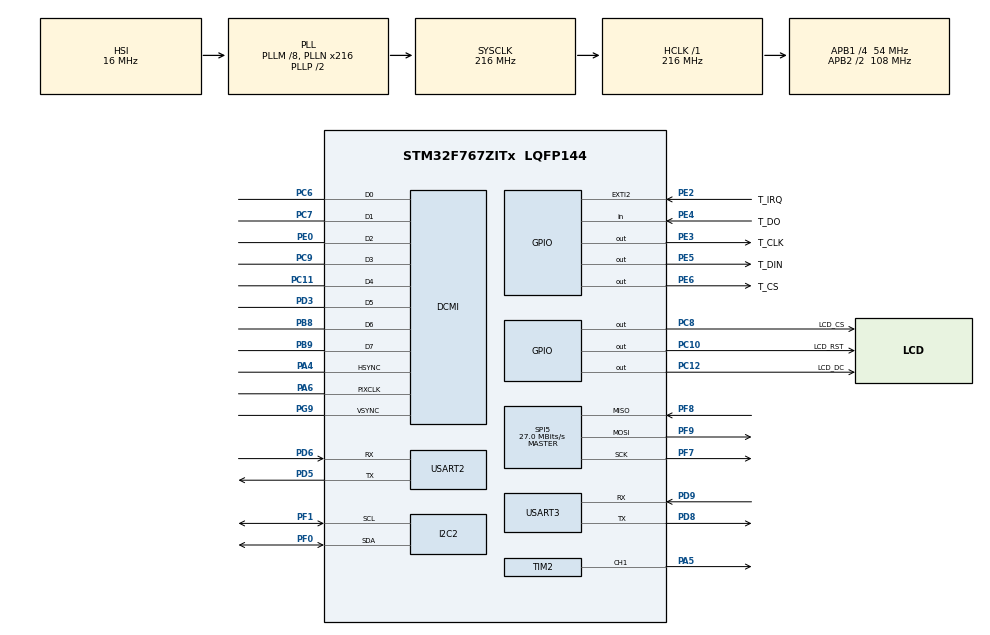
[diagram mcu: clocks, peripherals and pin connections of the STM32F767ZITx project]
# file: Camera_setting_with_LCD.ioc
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CORTEX_M7.default_mode_Activation=1
DCMI.PCKPolarity=DCMI_PCKPOLARITY_RISING
DCMI.VSPolarity=DCMI_VSPOLARITY_HIGH
Dma.DCMI.0.Direction=DMA_PERIPH_TO_MEMORY
Dma.DCMI.0.FIFOMode=DMA_FIFOMODE_ENABLE
Dma.DCMI.0.FIFOThreshold=DMA_FIFO_THRESHOLD_FULL
Dma.DCMI.0.Instance=DMA2_Stream1
Dma.DCMI.0.MemBurst=DMA_MBURST_SINGLE
Dma.DCMI.0.MemDataAlignment=DMA_MDATAALIGN_WORD
Dma.DCMI.0.MemInc=DMA_MINC_ENABLE
Dma.DCMI.0.Mode=DMA_NORMAL
Dma.DCMI.0.PeriphBurst=DMA_PBURST_SINGLE
Dma.DCMI.0.PeriphDataAlignment=DMA_PDATAALIGN_WORD
Dma.DCMI.0.PeriphInc=DMA_PINC_DISABLE
Dma.DCMI.0.Priority=DMA_PRIORITY_VERY_HIGH
Dma.Request0=DCMI
I2C2.Timing=0x20404768
Mcu.Family=STM32F7
Mcu.Name=STM32F767ZITx
Mcu.Package=LQFP144
NVIC.DCMI_IRQn=true\:0\:0\:false\:false\:true\:true\:true\:true
NVIC.DMA2_Stream1_IRQn=true\:0\:0\:false\:false\:true\:false\:true\:true
NVIC.EXTI2_IRQn=true\:2\:0\:true\:false\:true\:true\:true\:true
NVIC.PriorityGroup=NVIC_PRIORITYGROUP_4
NVIC.USART2_IRQn=true\:0\:0\:false\:false\:true\:true\:true\:true
PA13.Mode=Serial_Wire
PA13.Signal=SYS_JTMS-SWDIO
PA14.Mode=Serial_Wire
PA14.Signal=SYS_JTCK-SWCLK
PA4.Mode=Slave_8_bits_External_Synchro
PA4.Signal=DCMI_HSYNC
PA5.Signal=S_TIM2_CH1_ETR
PA6.Mode=Slave_8_bits_External_Synchro
PA6.Signal=DCMI_PIXCLK
PB8.Mode=Slave_8_bits_External_Synchro
PB8.Signal=DCMI_D6
PB9.Mode=Slave_8_bits_External_Synchro
PB9.Signal=DCMI_D7
PC10.GPIO_Label=LCD_RST
PC10.GPIO_Speed=GPIO_SPEED_FREQ_VERY_HIGH
PC10.PinState=GPIO_PIN_SET
PC10.Signal=GPIO_Output
PC11.Mode=Slave_8_bits_External_Synchro
PC11.Signal=DCMI_D4
PC12.GPIO_Label=LCD_DC
PC12.GPIO_Speed=GPIO_SPEED_FREQ_VERY_HIGH
PC12.Signal=GPIO_Output
PC6.Mode=Slave_8_bits_External_Synchro
PC6.Signal=DCMI_D0
PC7.Mode=Slave_8_bits_External_Synchro
PC7.Signal=DCMI_D1
PC8.GPIO_Label=LCD_CS
PC8.GPIO_Speed=GPIO_SPEED_FREQ_VERY_HIGH
PC8.PinState=GPIO_PIN_SET
PC8.Signal=GPIO_Output
PC9.Mode=Slave_8_bits_External_Synchro
PC9.Signal=DCMI_D3
PD3.Mode=Slave_8_bits_External_Synchro
PD3.Signal=DCMI_D5
PD5.Mode=Asynchronous
PD5.Signal=USART2_TX
PD6.Mode=Asynchronous
PD6.Signal=USART2_RX
PD8.Mode=Asynchronous
PD8.Signal=USART3_TX
PD9.Mode=Asynchronous
PD9.Signal=USART3_RX
PE0.Mode=Slave_8_bits_External_Synchro
PE0.Signal=DCMI_D2
PE2.GPIO_Label=T_IRQ
PE2.GPIO_ModeDefaultEXTI=GPIO_MODE_IT_FALLING
PE2.GPIO_PuPd=GPIO_PULLUP
PE2.Signal=GPXTI2
PE3.GPIO_Label=T_CLK
PE3.GPIO_Speed=GPIO_SPEED_FREQ_VERY_HIGH
PE3.Signal=GPIO_Output
PE4.GPIO_Label=T_DO
PE4.Signal=GPIO_Input
PE5.GPIO_Label=T_DIN
PE5.GPIO_Speed=GPIO_SPEED_FREQ_VERY_HIGH
PE5.Signal=GPIO_Output
PE6.GPIO_Label=T_CS
PE6.PinState=GPIO_PIN_SET
PE6.Signal=GPIO_Output
PF0.Mode=I2C
PF0.Signal=I2C2_SDA
PF1.Mode=I2C
PF1.Signal=I2C2_SCL
PF7.Mode=Full_Duplex_Master
PF7.Signal=SPI5_SCK
PF8.Mode=Full_Duplex_Master
PF8.Signal=SPI5_MISO
PF9.Mode=Full_Duplex_Master
PF9.Signal=SPI5_MOSI
PG9.Mode=Slave_8_bits_External_Synchro
PG9.Signal=DCMI_VSYNC
ProjectManager.HeapSize=0x200
ProjectManager.StackSize=0x400
ProjectManager.TargetToolchain=STM32CubeIDE
RCC.AHBFreq_Value=216000000
RCC.APB1CLKDivider=RCC_HCLK_DIV4
RCC.APB1Freq_Value=54000000
RCC.APB1TimFreq_Value=108000000
RCC.APB2CLKDivider=RCC_HCLK_DIV2
RCC.APB2Freq_Value=108000000
RCC.APB2TimFreq_Value=216000000
RCC.CortexFreq_Value=216000000
RCC.HCLKFreq_Value=216000000
RCC.HSE_VALUE=25000000
RCC.HSI_VALUE=16000000
RCC.LSE_VALUE=32768
RCC.PLLM=8
RCC.PLLN=216
RCC.SYSCLKFreq_VALUE=216000000
RCC.SYSCLKSource=RCC_SYSCLKSOURCE_PLLCLK
RCC.USBFreq_Value=216000000
RCC.VCOOutputFreq_Value=432000000
SH.S_TIM2_CH1_ETR.0=TIM2_CH1,PWM Generation1 CH1
SPI5.BaudRatePrescaler=SPI_BAUDRATEPRESCALER_4
SPI5.CalculateBaudRate=27.0 MBits/s
SPI5.DataSize=SPI_DATASIZE_8BIT
SPI5.Direction=SPI_DIRECTION_2LINES
SPI5.Mode=SPI_MODE_MASTER
SPI5.VirtualType=VM_MASTER
TIM2.Channel-PWM\ Generation1\ CH1=TIM_CHANNEL_1
TIM2.Period=7
TIM2.Pulse-PWM\ Generation1\ CH1=4
USART2.VirtualMode-Asynchronous=VM_ASYNC
USART3.VirtualMode-Asynchronous=VM_ASYNC
VP_TIM2_VS_ClockSourceINT.Mode=Internal
board=custom

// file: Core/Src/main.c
/* USER CODE BEGIN Header */
/**
  ******************************************************************************
  * @file           : main.c
  * @brief          : Main program body
  ******************************************************************************
  * @attention
  *
  * Copyright (c) 2026 STMicroelectronics.
  * All rights reserved.
  *
  * This software is licensed under terms that can be found in the LICENSE file
  * in the root directory of this software component.
  * If no LICENSE file comes with this software, it is provided AS-IS.
  *
  ******************************************************************************
  */
/* USER CODE END Header */
#include "main.h"
#include "dcmi.h"
#include "dma.h"
#include "i2c.h"
#include "spi.h"
#include "tim.h"
#include "usart.h"
#include "gpio.h"

/* USER CODE BEGIN Includes */
#include "ov7670.h"
#include "apriltag_lite.h"
#include <stdio.h>
#include <stdlib.h>
#include <string.h>
#include "tim.h"
#include "delivery.h"
#include "cat_ui.h"
/* USER CODE END Includes */

/* USER CODE BEGIN PD */
/* ---- application ---- */
#define APP_DELIVERY       1        /* 1 = table delivery on the LCD (cat face, touch, servo, link_send)
                                       0 = tag -> command + video for tools/ov7670_viewer.py */
#define DELIVERY_VIDEO     1        /* 1 = delivery mode also sends video to the viewer (needs 2 Mbaud) */
/* ---- serial port (ST-LINK USB) ---- */
#if APP_DELIVERY && !DELIVERY_VIDEO
#define UART_BAUD          115200   /* text only (no video) */
#else
#define UART_BAUD          2000000  /* Tera Term and tools/ov7670_viewer.py must use this speed.
                                       2 Mbaud = 54 MHz / 27 exactly. Garbage? use 921600 */
#endif
/* ---- AprilTag (tag36h11) detection on the STM32 ---- */
#define DET_SCALE          1        /* 1 = detect on 320x240 (longer range), 2 = on 160x120 (faster) */
#define DET_W              (OV7670_WIDTH / DET_SCALE)
#define DET_H              (OV7670_HEIGHT / DET_SCALE)
#define CONFIRM_FRAMES     2        /* a tag must be seen this many frames in a row to become the command */
#define TAG_LOST_MS        1000     /* no command tag for this long -> STOP */
/* ---- result lines in Tera Term ---- */
#define OUTPUT_DELAY_MS    500      /* delay between result lines; change at run time with + and - */
#define OUTPUT_DELAY_STEP  100
#define OUTPUT_DELAY_MIN   100
#define OUTPUT_DELAY_MAX   10000
/* ---- live video for tools/ov7670_viewer.py (sent only after it asks with 'v') ---- */
#define VIDEO_SCALE        2        /* 1 = 320x240, 2 = 160x120; must be a multiple of DET_SCALE */
#define VIDEO_W            (OV7670_WIDTH / VIDEO_SCALE)
#define VIDEO_H            (OV7670_HEIGHT / VIDEO_SCALE)
/* ---- misc ---- */
#define BOOT_DIAG          0        /* 1 = print the SCCB / I2C scan / sync-signal tests at start-up */
#define GRAY_Y_OFFSET      0        /* which byte of each YUYV pixel pair is Y */
/* ---- camera signal checks ---- */
#define OV7670_TEST_PATTERN 0       /* 1 = colour bars instead of the picture (key p toggles at run time) */
#define OV7670_PCLK_DIV    1        /* 1 = normal, 2 / 4 = slower PCLK for long jumper wires (fewer fps) */
#define CAMERA_ROTATION    180      /* how far to turn the picture clockwise to make it upright: 0 / 90 / 180 / 270.
                                       0 = camera mounted level (landscape). If it is mounted on its side,
                                       the left/right angle is taken from the matching image axis and
                                       the viewer turns the picture (detection works in any orientation) */
#define CAM_STATS          0        /* 1 = print a CAM: line (frame size / errors) with every result line */
#define DROP_BAD_FRAMES    1        /* 1 = no tag detection on frames with wrong size or DCMI errors */
#define SHOW_BAD_FRAMES    0        /* 1 = the viewer also gets the bad frames (stripes / shifted lines) */
#define FRAME_MARGIN       (4 * OV7670_WIDTH * 2)   /* DMA room for 4 extra lines, to measure long frames */
#define CAP_BYTES          (OV7670_FRAME_BYTES + FRAME_MARGIN)
#define ROW_TOLERANCE      12       /* test pattern: mean |Y difference| for a row to count as wrong */

#if (VIDEO_SCALE % DET_SCALE) != 0
#error "VIDEO_SCALE must be a multiple of DET_SCALE"
#endif
/* USER CODE END PD */

/* USER CODE BEGIN PV */
__attribute__((aligned(32))) static uint8_t frame_buf[CAP_BYTES];   /* YUYV from the DCMI */
static uint8_t           cap_running = 0;  /* a snapshot has been started and not yet collected */
static volatile uint16_t cap_lines = 0;    /* lines (HREF pulses) received in the current snapshot */
static volatile uint32_t cap_err = 0;      /* HAL_DCMI_ERROR_* bits seen during the current snapshot */
static uint8_t           test_pattern = OV7670_TEST_PATTERN;
static uint8_t gray[DET_W * DET_H];            /* Y plane = input of the tag detector */
static uint8_t video_buf[VIDEO_W * VIDEO_H];   /* frame sent to the PC viewer */
static at_config_t    at_cfg;
static at_detection_t dets[AT_MAX_DETECT];

/* Tag ID -> robot command (other IDs are reported but give no command) */
static const char *const tag_cmd[] = {
  "STOP",         /* ID 0 */
  "FORWARD",      /* ID 1 */
  "TURN_LEFT",    /* ID 2 */
  "TURN_RIGHT",   /* ID 3 */
  "BACKWARD",     /* ID 4 */
};
#define NUM_TAG_CMDS ((int)(sizeof tag_cmd / sizeof tag_cmd[0]))

static int      active_id = -1;       /* tag ID currently driving the robot, -1 = none */
__attribute__((unused)) static int cand_id = -1;       /* tag waiting for CONFIRM_FRAMES */
__attribute__((unused)) static int cand_count = 0;
static uint32_t active_seen = 0;      /* tick when the active tag was last seen */
static uint8_t  video_mode = 0;       /* 1 = viewer connected: also send frames + @ lines */
static uint32_t output_delay = OUTPUT_DELAY_MS;

/* statistics for the result lines */
static uint32_t stat_frames = 0, stat_det_us = 0, stat_t0 = 0;
static int            last_n = 0;     /* tags found in the latest frame */
static at_detection_t last_best;      /* biggest of them */

/* frame checks since the last result line */
static struct {
  uint32_t frames, good, short_, long_, ovr, other_err, timeout;
  uint32_t lines_min, lines_max, bytes_min, bytes_max;
  uint32_t row_bad_frames, rows_bad_max, order_ok, order_bad;
} cam;
/* USER CODE END PV */

void SystemClock_Config(void);
static void MPU_Config(void);

/* USER CODE BEGIN 0 */
static void uart_print(const char *s)
{
  HAL_UART_Transmit(&huart3, (uint8_t *)s, strlen(s), 100);
}

/* Non-blocking read of one byte typed in Tera Term / sent by the viewer, -1 if none */
static int uart_getc(void)
{
  USART_TypeDef *u = huart3.Instance;
  if (u->ISR & (USART_ISR_ORE | USART_ISR_FE | USART_ISR_NE))
    u->ICR = USART_ICR_ORECF | USART_ICR_FECF | USART_ICR_NCF;
  if (u->ISR & USART_ISR_RXNE) return (int)(u->RDR & 0xFF);
  return -1;
}

/* ---- SCCB bit-bang: bus recovery at start-up (+ register test with BOOT_DIAG) ---- */
#define BB_SCL_PIN  GPIO_PIN_1   /* PF1 */
#define BB_SDA_PIN  GPIO_PIN_0   /* PF0 */
#define SCL_H()  HAL_GPIO_WritePin(GPIOF, BB_SCL_PIN, GPIO_PIN_SET)
#define SCL_L()  HAL_GPIO_WritePin(GPIOF, BB_SCL_PIN, GPIO_PIN_RESET)
#define SDA_H()  HAL_GPIO_WritePin(GPIOF, BB_SDA_PIN, GPIO_PIN_SET)
#define SDA_L()  HAL_GPIO_WritePin(GPIOF, BB_SDA_PIN, GPIO_PIN_RESET)
#define SDA_IN() (HAL_GPIO_ReadPin(GPIOF, BB_SDA_PIN) == GPIO_PIN_SET)
#define SCL_IN() (HAL_GPIO_ReadPin(GPIOF, BB_SCL_PIN) == GPIO_PIN_SET)

static void bb_delay(void)
{
  for (volatile uint32_t i = 0; i < 1000; i++) {}   /* ~5 us at 216 MHz */
}

static void bb_init(void)
{
  GPIO_InitTypeDef g = {0};
  HAL_I2C_DeInit(&hi2c2);
  __HAL_RCC_GPIOF_CLK_ENABLE();
  g.Pin = BB_SCL_PIN | BB_SDA_PIN;
  g.Mode = GPIO_MODE_OUTPUT_OD;
  g.Pull = GPIO_PULLUP;
  g.Speed = GPIO_SPEED_FREQ_LOW;
  SCL_H(); SDA_H();
  HAL_GPIO_Init(GPIOF, &g);
  bb_delay();
}

/* Bus recovery: if the camera still holds SDA low (MCU was reset in the
   middle of a transfer), clock SCL until it lets go, then send a STOP */
static void bb_recover(void)
{
  for (int i = 0; i < 9 && !SDA_IN(); i++) {
    SCL_L(); bb_delay(); SCL_H(); bb_delay();
  }
  SDA_L(); bb_delay(); SCL_H(); bb_delay(); SDA_H(); bb_delay();
}

#if BOOT_DIAG
static void bb_start(void) { SDA_H(); SCL_H(); bb_delay(); SDA_L(); bb_delay(); SCL_L(); bb_delay(); }
static void bb_stop(void)  { SDA_L(); bb_delay(); SCL_H(); bb_delay(); SDA_H(); bb_delay(); }

static int bb_write(uint8_t b)
{
  for (int i = 7; i >= 0; i--) {
    if (b & (1 << i)) SDA_H(); else SDA_L();
    bb_delay(); SCL_H(); bb_delay(); SCL_L(); bb_delay();
  }
  SDA_H(); bb_delay();
  SCL_H(); bb_delay();
  int ack = !SDA_IN();
  SCL_L(); bb_delay();
  return ack;
}

static uint8_t bb_read(void)
{
  uint8_t b = 0;
  SDA_H();
  for (int i = 0; i < 8; i++) {
    bb_delay(); SCL_H(); bb_delay();
    b = (b << 1) | (SDA_IN() ? 1 : 0);
    SCL_L();
  }
  SDA_H(); bb_delay(); SCL_H(); bb_delay(); SCL_L(); bb_delay();
  return b;
}

static void bb_read_reg(uint8_t reg, char *msg, size_t n)
{
  bb_start();
  int a1 = bb_write(0x42);
  int a2 = bb_write(reg);
  bb_stop();
  bb_start();
  int a3 = bb_write(0x43);
  uint8_t v = bb_read();
  bb_stop();
  snprintf(msg, n, "  reg 0x%02X: ACK addrW=%d reg=%d addrR=%d  value=0x%02X\r\n",
           reg, a1, a2, a3, v);
}

/* Count level changes on an input pin for 'ms' milliseconds (works in AF mode too) */
static uint32_t count_edges(GPIO_TypeDef *port, uint16_t pin, uint32_t ms)
{
  uint32_t n = 0, t0 = HAL_GetTick();
  uint32_t last = port->IDR & pin;
  while (HAL_GetTick() - t0 < ms) {
    uint32_t now = port->IDR & pin;
    if (now != last) { n++; last = now; }
  }
  return n;
}
#endif /* BOOT_DIAG */

/* ---- camera frames ----
   A snapshot is started into a buffer a few lines bigger than a frame, so
   the DMA never completes on a normal frame. The end of the frame is seen
   in the main loop when the DCMI clears CAPTURE; the DMA counter then tells
   how many bytes arrived, and the line interrupt how many lines. */
void HAL_DCMI_LineEventCallback(DCMI_HandleTypeDef *h)
{
  if (h->Instance->CR & DCMI_CR_CAPTURE) cap_lines++;
}

/* VSYNC starts the blanking before a frame: lines counted so far belong to
   the frame that was running when the snapshot was armed. At the end of the
   captured frame CAPTURE is already clear, so its count is kept. */
void HAL_DCMI_VsyncEventCallback(DCMI_HandleTypeDef *h)
{
  if (h->Instance->CR & DCMI_CR_CAPTURE) cap_lines = 0;
}

void HAL_DCMI_ErrorCallback(DCMI_HandleTypeDef *h)
{
  cap_err |= h->ErrorCode;
  h->ErrorCode = HAL_DCMI_ERROR_NONE;
}

static void start_capture(void)
{
  cap_lines = 0;
  cap_err = 0;
  HAL_DCMI_Start_DMA(&hdcmi, DCMI_MODE_SNAPSHOT, (uint32_t)frame_buf, CAP_BYTES / 4);
  /* the HAL turns these off after a frame event in snapshot mode */
  __HAL_DCMI_ENABLE_IT(&hdcmi, DCMI_IT_LINE | DCMI_IT_VSYNC | DCMI_IT_OVR | DCMI_IT_ERR);
  cap_running = 1;
}

/* Bytes the DMA took from the DCMI in this snapshot (call once CAPTURE is clear) */
static uint32_t captured_bytes(void)
{
  uint32_t t0 = DWT->CYCCNT;
  /* let the DMA empty the DCMI FIFO, at most ~100 us */
  while ((hdcmi.Instance->SR & DCMI_SR_FNE) && DWT->CYCCNT - t0 < SystemCoreClock / 10000u) {}
  return (CAP_BYTES / 4 - __HAL_DMA_GET_COUNTER(hdcmi.DMA_Handle)) * 4;
}

/* Test pattern: number of rows whose Y values differ from the middle row
   (the colour bars are vertical, so every row should be the same) */
static uint32_t count_bad_rows(void)
{
  const uint8_t *ref = frame_buf + (OV7670_HEIGHT / 2) * OV7670_WIDTH * 2 + GRAY_Y_OFFSET;
  uint32_t bad = 0;
  for (int y = 0; y < OV7670_HEIGHT; y++) {
    const uint8_t *row = frame_buf + y * OV7670_WIDTH * 2 + GRAY_Y_OFFSET;
    uint32_t diff = 0;
    for (int x = 0; x < OV7670_WIDTH * 2; x += 2) diff += (uint32_t)abs(row[x] - ref[x]);
    if (diff > ROW_TOLERANCE * OV7670_WIDTH) bad++;
  }
  return bad;
}

/* Test pattern: the first bar is white and the last black (or the other way
   round when mirrored). Both have U = V = 128, so with the right byte order
   the Y bytes differ a lot and the U/V bytes stay near 128. */
static int yuyv_order_ok(void)
{
  uint32_t y_l = 0, y_r = 0, c_l = 0, c_r = 0, n = 0;
  for (int y = 40; y < OV7670_HEIGHT - 40; y += 8)
    for (int x = 4; x < 20; x++) {
      const uint8_t *row = frame_buf + y * OV7670_WIDTH * 2;
      int xr = OV7670_WIDTH - 1 - x;
      y_l += row[x * 2 + GRAY_Y_OFFSET];
      c_l += row[x * 2 + 1 - GRAY_Y_OFFSET];
      y_r += row[xr * 2 + GRAY_Y_OFFSET];
      c_r += row[xr * 2 + 1 - GRAY_Y_OFFSET];
      n++;
    }
  y_l /= n; y_r /= n; c_l /= n; c_r /= n;
  return abs((int)y_l - (int)y_r) > 80 && abs((int)c_l - 128) < 30 && abs((int)c_r - 128) < 30;
}

/* Record the checks of one finished snapshot; 1 = frame is good */
static int check_frame(uint32_t bytes, uint32_t lines, uint32_t err)
{
  if (cam.frames == 0) {
    cam.lines_min = cam.lines_max = lines;
    cam.bytes_min = cam.bytes_max = bytes;
  }
  cam.frames++;
  if (lines < cam.lines_min) cam.lines_min = lines;
  if (lines > cam.lines_max) cam.lines_max = lines;
  if (bytes < cam.bytes_min) cam.bytes_min = bytes;
  if (bytes > cam.bytes_max) cam.bytes_max = bytes;

  int good = 1;
  if (bytes >= CAP_BYTES || lines > OV7670_HEIGHT) {
    /* also raises an overrun once the buffer is full: not counted separately */
    cam.long_++;
    good = 0;
  } else {
    if (err & HAL_DCMI_ERROR_OVR) { cam.ovr++; good = 0; }
    /* the HAL aborts the DMA after an overrun, which also sets ERROR_DMA */
    if ((err & HAL_DCMI_ERROR_SYNC) || (err & (HAL_DCMI_ERROR_DMA | HAL_DCMI_ERROR_OVR)) == HAL_DCMI_ERROR_DMA) {
      cam.other_err++;
      good = 0;
    }
    if (bytes != OV7670_FRAME_BYTES || lines != OV7670_HEIGHT) {
      if (bytes < OV7670_FRAME_BYTES || lines < OV7670_HEIGHT) cam.short_++;
      else cam.long_++;
      good = 0;
    }
  }

  if (test_pattern && bytes >= OV7670_FRAME_BYTES) {
    uint32_t rows = count_bad_rows();
    if (rows) { cam.row_bad_frames++; good = 0; }
    if (rows > cam.rows_bad_max) cam.rows_bad_max = rows;
    if (yuyv_order_ok()) cam.order_ok++;
    else cam.order_bad++;
  }
  if (good) cam.good++;
  return good;
}

__attribute__((unused)) static void print_cam_stats(void)
{
  char line[256];
  int len = snprintf(line, sizeof line,
                     "  CAM: %lu frames, %lu good | short %lu long %lu overrun %lu err %lu timeout %lu",
                     (unsigned long)cam.frames, (unsigned long)cam.good, (unsigned long)cam.short_,
                     (unsigned long)cam.long_, (unsigned long)cam.ovr, (unsigned long)cam.other_err,
                     (unsigned long)cam.timeout);
  if (cam.frames)
    len += snprintf(line + len, sizeof line - len, " | lines %lu-%lu (want %d) bytes %lu-%lu (want %d)",
                    (unsigned long)cam.lines_min, (unsigned long)cam.lines_max, OV7670_HEIGHT,
                    (unsigned long)cam.bytes_min, (unsigned long)cam.bytes_max, OV7670_FRAME_BYTES);
  if (test_pattern)
    len += snprintf(line + len, sizeof line - len, " | TEST bad-row frames %lu (max %lu rows), YUYV order %s",
                    (unsigned long)cam.row_bad_frames, (unsigned long)cam.rows_bad_max,
                    cam.order_bad == 0 ? "OK" : (cam.order_ok == 0 ? "WRONG" : "unstable"));
  snprintf(line + len, sizeof line - len, "\r\n");
  uart_print(line);
  memset(&cam, 0, sizeof cam);
}

/* VSYNC (PG9) period in microseconds, median of 5; 0 = no VSYNC */
static uint32_t measure_frame_us(void)
{
  uint32_t per[5], n = 0, t_prev = 0, t0 = HAL_GetTick();
  uint32_t last = GPIOG->IDR & GPIO_PIN_9;
  int edges = 0;
  while (n < 5 && HAL_GetTick() - t0 < 2000) {
    uint32_t now = GPIOG->IDR & GPIO_PIN_9;
    if (now && !last) {
      uint32_t t = DWT->CYCCNT;
      uint32_t us = (t - t_prev) / (SystemCoreClock / 1000000u);
      if (edges++ > 0 && us > 5000) per[n++] = us;   /* ignore glitches */
      t_prev = t;
    }
    last = now;
  }
  if (n < 5) return 0;
  for (int i = 1; i < 5; i++)                         /* sort, take the middle one */
    for (int j = i; j > 0 && per[j] < per[j - 1]; j--) { uint32_t s = per[j]; per[j] = per[j - 1]; per[j - 1] = s; }
  return per[2];
}

/* Copy the Y bytes of the YUYV frame into gray[] (every DET_SCALE-th pixel and line) */
static void extract_gray(void)
{
  uint8_t *dst = gray;
  for (int y = 0; y < OV7670_HEIGHT; y += DET_SCALE) {
    const uint8_t *src = frame_buf + y * OV7670_WIDTH * 2 + GRAY_Y_OFFSET;
    for (int x = 0; x < OV7670_WIDTH; x += DET_SCALE) *dst++ = src[x * 2];
  }
}

/* ---- tag -> command ---- */
__attribute__((unused)) static const char *cmd_text(int id)
{
  if (id < 0) return "STOP (no tag)";
  return tag_cmd[id];
}

#if !APP_DELIVERY
/* id = biggest tag with a command in this frame, -1 = none */
static void update_command(int id, uint32_t now)
{
  if (id < 0) {
    cand_id = -1;
    cand_count = 0;
    return;
  }
  if (id == cand_id) cand_count++;
  else { cand_id = id; cand_count = 1; }
  if (cand_count >= CONFIRM_FRAMES) active_id = id;
  if (id == active_id) active_seen = now;
}

/* One result line for Tera Term, every output_delay ms */
static void print_status(uint32_t now)
{
  char line[160];
  uint32_t dt = now - stat_t0;
  uint32_t fps10 = dt ? stat_frames * 10000u / dt : 0;                  /* fps x10 */
  uint32_t det10 = stat_frames ? stat_det_us / stat_frames / 100u : 0;  /* ms x10 */
  int len = snprintf(line, sizeof line, "[%6lu.%02lu s] CMD: %-13s | ",
                     (unsigned long)(now / 1000), (unsigned long)(now % 1000 / 10), cmd_text(active_id));
  if (last_n > 0)
    len += snprintf(line + len, sizeof line - len, "tag ID %d at (%d,%d) %dpx rot %d err %d%s | ",
                    last_best.id, (int)last_best.cx, (int)last_best.cy, (int)(last_best.side + 0.5f),
                    last_best.rotation, last_best.hamming, last_n > 1 ? " +more" : "");
  else
    len += snprintf(line + len, sizeof line - len, "no tag | ");
  snprintf(line + len, sizeof line - len, "detect %lu.%lu ms, %lu.%lu fps\r\n",
           (unsigned long)(det10 / 10), (unsigned long)(det10 % 10),
           (unsigned long)(fps10 / 10), (unsigned long)(fps10 % 10));
  uart_print(line);
#if CAM_STATS
  print_cam_stats();
#endif
  stat_frames = 0;
  stat_det_us = 0;
  stat_t0 = now;
}
#endif /* !APP_DELIVERY */

static void print_help(void)
{
  char line[100];
#if !APP_DELIVERY
  uart_print("tag ID -> command: 0 STOP, 1 FORWARD, 2 TURN_LEFT, 3 TURN_RIGHT, 4 BACKWARD\r\n");
#endif
  snprintf(line, sizeof line, "output delay %lu ms  (keys: + slower, - faster, p test pattern, s servo test, h help)\r\n",
           (unsigned long)output_delay);
  uart_print(line);
}

/* Keys from Tera Term (+ - h) and from the viewer (v = video on, t = text only) */
static void handle_key(int c)
{
  char line[60];
  switch (c) {
  case 'v':
#if APP_DELIVERY && !DELIVERY_VIDEO
    uart_print("@MODE TEXT\r\n");   /* no video at 115200 baud: the viewer shows the text lines */
#else
    video_mode = 1;
#endif
    break;
  case 't':
    video_mode = 0;
    uart_print("\r\nvideo off\r\n");
    break;
  case '+':
  case '-':
    if (c == '+' && output_delay + OUTPUT_DELAY_STEP <= OUTPUT_DELAY_MAX) output_delay += OUTPUT_DELAY_STEP;
    if (c == '-' && output_delay >= OUTPUT_DELAY_MIN + OUTPUT_DELAY_STEP) output_delay -= OUTPUT_DELAY_STEP;
    snprintf(line, sizeof line, "output delay = %lu ms\r\n", (unsigned long)output_delay);
    uart_print(line);
    break;
  case 'p':
    test_pattern = !test_pattern;
    OV7670_SetTestPattern(test_pattern);
    uart_print(test_pattern ? "test pattern ON (colour bars)\r\n" : "test pattern OFF\r\n");
    memset(&cam, 0, sizeof cam);
    break;
#if APP_DELIVERY
  case 's':
    delivery_servo_test();
    break;
#endif
  case 'h':
  case '?':
    print_help();
    break;
  default:
    break;
  }
}

/* ---- video for tools/ov7670_viewer.py ---- */
/* Tags found by the STM32, so the viewer can draw them (coordinates in DET_W x DET_H) */
static void send_tag_lines(int n)
{
  char line[100];
  for (int i = 0; i < n; i++) {
    const at_detection_t *d = &dets[i];
    snprintf(line, sizeof line, "@TAG %d %d %d %d %d %d %d %d %d %d %d\r\n", DET_W, DET_H, d->id,
             (int)d->corners[0][0], (int)d->corners[0][1], (int)d->corners[1][0], (int)d->corners[1][1],
             (int)d->corners[2][0], (int)d->corners[2][1], (int)d->corners[3][0], (int)d->corners[3][1]);
    uart_print(line);
  }
  snprintf(line, sizeof line, "@ROT %d\r\n", CAMERA_ROTATION);   /* the viewer turns the picture upright */
  uart_print(line);
#if APP_DELIVERY
  snprintf(line, sizeof line, "@CMD %s\r\n", delivery_status());   /* mission state for the viewer */
#else
  snprintf(line, sizeof line, "@CMD %s\r\n", cmd_text(active_id));
#endif
  uart_print(line);
}

/* AA 55 'F' 'G' | width u16 LE | height u16 LE | grey pixels | byte sum u32 LE */
static void send_video(void)
{
  const int step = VIDEO_SCALE / DET_SCALE;
  uint32_t k = 0, sum = 0;
  for (int y = 0; y < DET_H; y += step)
    for (int x = 0; x < DET_W; x += step) {
      video_buf[k] = gray[y * DET_W + x];
      sum += video_buf[k++];
    }
  uint8_t hdr[8] = {0xAA, 0x55, 'F', 'G',
                    VIDEO_W & 0xFF, VIDEO_W >> 8, VIDEO_H & 0xFF, VIDEO_H >> 8};
  HAL_UART_Transmit(&huart3, hdr, sizeof hdr, 100);
  for (uint32_t off = 0; off < sizeof video_buf; off += 32768) {
    uint32_t n = sizeof video_buf - off;
    if (n > 32768) n = 32768;
    HAL_UART_Transmit(&huart3, video_buf + off, n, 2000);
  }
  HAL_UART_Transmit(&huart3, (uint8_t *)&sum, 4, 100);
}
/* USER CODE END 0 */

int main(void)
{

  /* MPU Configuration--------------------------------------------------------*/
  MPU_Config();

  /* MCU Configuration--------------------------------------------------------*/

  /* Reset of all peripherals, Initializes the Flash interface and the Systick. */
  HAL_Init();

  /* USER CODE BEGIN Init */
  /* caches: the tag detector runs several times faster.
     frame_buf is written by DMA, so it is invalidated before every read */
  SCB_EnableICache();
  SCB_EnableDCache();
  /* USER CODE END Init */

  /* Configure the system clock */
  SystemClock_Config();

  /* Initialize all configured peripherals */
  MX_GPIO_Init();
  MX_DMA_Init();
  MX_DCMI_Init();
  MX_USART3_UART_Init();
  MX_I2C2_Init();
  MX_TIM2_Init();
  MX_SPI5_Init();
  MX_USART2_UART_Init();
  /* USER CODE BEGIN 2 */
#if APP_DELIVERY
  /* $M,0,0,0 to the lower board every 100 ms from now on (TIM6 interrupt):
     it keeps coming while the camera + LCD set-up below takes a few seconds,
     and a valid $M cancels the lower board's start-up wheel test */
  link_start();
#endif
  huart3.Init.BaudRate = UART_BAUD;   /* 115200 is too slow for the video to the viewer */
  HAL_UART_Init(&huart3);
  char msg[96];
  uart_print("\r\n=== OV7670 AprilTag reader (tag36h11, detection on the STM32) ===\r\n");

  /* XCLK = TIM2_CH1 PWM 13.5 MHz on PA5 (D13) */
  HAL_TIM_PWM_Start(&htim2, TIM_CHANNEL_1);
  HAL_Delay(50);

  /* free the SCCB bus if the camera still holds SDA low from before a reset */
  bb_init();
  if (!SDA_IN() || !SCL_IN()) bb_recover();
#if BOOT_DIAG
  snprintf(msg, sizeof msg, "  SCCB idle levels: SCL=%d SDA=%d (expect 1 1)\r\n", SCL_IN(), SDA_IN());
  uart_print(msg);
  /* can the board pull each line low and let it go again? (damaged pin / short) */
  {
    int scl_lo, scl_hi, sda_lo, sda_hi;
    SCL_L(); bb_delay(); scl_lo = SCL_IN(); SCL_H(); bb_delay(); bb_delay(); scl_hi = SCL_IN();
    SDA_L(); bb_delay(); sda_lo = SDA_IN(); SDA_H(); bb_delay(); bb_delay(); sda_hi = SDA_IN();
    snprintf(msg, sizeof msg, "  drive test: SCL low=%d high=%d  SDA low=%d high=%d (expect 0 1 0 1)\r\n",
             scl_lo, scl_hi, sda_lo, sda_hi);
    uart_print(msg);
  }
  bb_read_reg(0x0A, msg, sizeof msg); uart_print(msg);
  bb_read_reg(0x0B, msg, sizeof msg); uart_print(msg);
  /* a powered camera with XCLK runs its default video at once, before any SCCB set-up */
  snprintf(msg, sizeof msg, "  edges in 200 ms before set-up: PCLK=%lu HREF=%lu VSYNC=%lu XCLK(PA5)=%lu\r\n",
           (unsigned long)count_edges(GPIOA, GPIO_PIN_6, 200),
           (unsigned long)count_edges(GPIOA, GPIO_PIN_4, 200),
           (unsigned long)count_edges(GPIOG, GPIO_PIN_9, 200),
           (unsigned long)count_edges(GPIOA, GPIO_PIN_5, 200));
  uart_print(msg);
#endif
  MX_I2C2_Init();

  /* SCCB at ~10 kHz (PRESC=11, SCLL=0xC7, SCLH=0xC3 at 54 MHz): it is only used
     at start-up, and the slow speed also works with weak pull-ups */
  hi2c2.Init.Timing = 0xB042C3C7;
  __HAL_I2C_DISABLE(&hi2c2);
  hi2c2.Instance->TIMINGR = hi2c2.Init.Timing;
  __HAL_I2C_ENABLE(&hi2c2);

#if BOOT_DIAG
  uart_print("  I2C2 bus scan:");
  for (uint8_t addr = 0x01; addr <= 0x7F; addr++)
    if (HAL_I2C_IsDeviceReady(&hi2c2, (uint16_t)(addr << 1), 2, 10) == HAL_OK) {
      snprintf(msg, sizeof msg, " 0x%02X", addr);
      uart_print(msg);
    }
  uart_print("\r\n");
#endif

  /* camera registers: QVGA, then YUV (the Y bytes are the grey image) */
  uint8_t r = OV7670_Init(&hi2c2);
  if (r == OV7670_ERR_SCCB) {
    uart_print("camera: FAIL - no answer on SCCB (check SIOC=PF1, SIOD=PF0, pull-ups, 3.3V, XCLK)\r\n");
    snprintf(msg, sizeof msg, "  failed at reg 0x%02X, HAL I2C error 0x%08lX\r\n",
             ov7670_last_reg, (unsigned long)HAL_I2C_GetError(&hi2c2));
    uart_print(msg);
#if APP_DELIVERY
    uart_print("  (s = servo test still works)\r\n");
    while (1) {
      if (uart_getc() == 's') delivery_servo_test();
    }
#else
    while (1) {}
#endif
  }
  uint8_t pid = 0, ver = 0;
  OV7670_ReadReg(0x0A, &pid);
  OV7670_ReadReg(0x0B, &ver);
  if (r != OV7670_OK || OV7670_SetYUV() != HAL_OK) {
    snprintf(msg, sizeof msg, "camera: FAIL - PID=0x%02X VER=0x%02X (expect 0x76/0x73)\r\n", pid, ver);
    uart_print(msg);
    while (1) {}
  }
  snprintf(msg, sizeof msg, "camera: OK (PID 0x%02X VER 0x%02X), grey image, detection on %dx%d\r\n",
           pid, ver, DET_W, DET_H);
  uart_print(msg);

  /* cycle counter for timing the detector and the VSYNC period */
  CoreDebug->DEMCR |= CoreDebug_DEMCR_TRCENA_Msk;
  DWT->LAR = 0xC5ACCE55;
  DWT->CYCCNT = 0;
  DWT->CTRL |= DWT_CTRL_CYCCNTENA_Msk;

  /* DCMI expects COM10 = 0: VSYNC high in blanking, HREF high on data, data valid on PCLK rising */
  uint8_t com10 = 0;
  OV7670_ReadReg(0x15, &com10);
  if (com10 != 0x00) {
    snprintf(msg, sizeof msg, "  WARNING: COM10 = 0x%02X, DCMI polarity setup expects 0x00\r\n", com10);
    uart_print(msg);
  }
  if (OV7670_SetPclkDiv(OV7670_PCLK_DIV) != HAL_OK) uart_print("  WARNING: OV7670_PCLK_DIV must be 1, 2, 4 or 8\r\n");
  if (test_pattern) OV7670_SetTestPattern(1);
  HAL_Delay(200);   /* let the new clock settle */

  /* the frame period gives the real sensor clock, which sets the 50 Hz anti-flicker step */
  uint32_t frame_us = measure_frame_us();
  if (frame_us && OV7670_SetBanding50Hz(frame_us) == HAL_OK) {
    uint32_t pclk_khz = (uint32_t)((uint64_t)OV7670_FRAME_ROWS * 784u * 1000u / frame_us);
    snprintf(msg, sizeof msg, "  frame %lu.%lu ms (%lu fps max), PCLK %lu.%02lu MHz, 50 Hz anti-flicker on\r\n",
             (unsigned long)(frame_us / 1000), (unsigned long)(frame_us % 1000 / 100),
             (unsigned long)(1000000u / frame_us),
             (unsigned long)(pclk_khz / 1000), (unsigned long)(pclk_khz % 1000 / 10));
  } else {
    snprintf(msg, sizeof msg, "  WARNING: no VSYNC on PG9, 50 Hz anti-flicker not set\r\n");
  }
  uart_print(msg);
  if (test_pattern) uart_print("  TEST PATTERN ON: colour bars instead of the picture\r\n");

#if BOOT_DIAG
  snprintf(msg, sizeof msg, "  edges in 200 ms: PCLK=%lu HREF=%lu VSYNC=%lu\r\n",
           (unsigned long)count_edges(GPIOA, GPIO_PIN_6, 200),
           (unsigned long)count_edges(GPIOA, GPIO_PIN_4, 200),
           (unsigned long)count_edges(GPIOG, GPIO_PIN_9, 200));
  uart_print(msg);
#endif

  at_default_config(&at_cfg);
  print_help();
#if APP_DELIVERY
  delivery_init();   /* LCD, touch, pan servo */
#endif

  start_capture();
  uint32_t t_cap = HAL_GetTick();
  uint32_t t_out = HAL_GetTick();
  stat_t0 = t_out;
  /* USER CODE END 2 */

  /* Infinite loop */
  while (1)
  {

    /* USER CODE BEGIN 3 */
    int key = uart_getc();
    if (key >= 0) handle_key(key);

    /* in snapshot mode the DCMI clears CAPTURE at the end of the frame */
    if (cap_running && !(hdcmi.Instance->CR & DCMI_CR_CAPTURE)) {
      cap_running = 0;
      uint32_t bytes = captured_bytes();
      uint32_t lines = cap_lines, err = cap_err;
      HAL_DCMI_Stop(&hdcmi);
      SCB_InvalidateDCache_by_Addr((uint32_t *)frame_buf, CAP_BYTES);
      int good = check_frame(bytes, lines, err);
      extract_gray();
      /* the next frame is captured while this one is processed */
      start_capture();
      t_cap = HAL_GetTick();

      /* a bad frame gets no detection (and is not sent to the viewer unless SHOW_BAD_FRAMES) */
      int n = 0;
      if (good || !DROP_BAD_FRAMES) {
        uint32_t c0 = DWT->CYCCNT;
        n = at_detect(&at_cfg, gray, DET_W, DET_H, dets, AT_MAX_DETECT);
        stat_det_us += (DWT->CYCCNT - c0) / (SystemCoreClock / 1000000u);
        stat_frames++;

        /* biggest (= closest) tag overall, and biggest tag that has a command */
        int best = -1, best_cmd = -1;
        for (int i = 0; i < n; i++) {
          if (best < 0 || dets[i].side > dets[best].side) best = i;
          if (dets[i].id < NUM_TAG_CMDS && (best_cmd < 0 || dets[i].side > dets[best_cmd].side)) best_cmd = i;
        }
        last_n = n;
        if (best >= 0) last_best = dets[best];
#if APP_DELIVERY
        (void)best_cmd;
        delivery_frame(dets, n, DET_W, DET_H, CAMERA_ROTATION, HAL_GetTick());
#else
        update_command(best_cmd >= 0 ? dets[best_cmd].id : -1, HAL_GetTick());
#endif
      }

      if (video_mode && (good || SHOW_BAD_FRAMES)) {
        send_tag_lines(n);
        send_video();
      }
    }

    /* command tag gone for too long -> STOP */
    if (active_id >= 0 && HAL_GetTick() - active_seen > TAG_LOST_MS) active_id = -1;

    /* no end of frame for 500 ms (VSYNC missing): restart the capture */
    if (HAL_GetTick() - t_cap > 500) {
      cam.timeout++;
      HAL_DCMI_Stop(&hdcmi);
      start_capture();
      t_cap = HAL_GetTick();
    }

#if APP_DELIVERY
    /* touch, servo, face, and the TABLE / FOUND / -> $D lines every output_delay */
    delivery_poll(HAL_GetTick(), output_delay);
#if CAM_STATS
    /* frame checks (size / lines / errors) also in this mode, for chasing bad pictures */
    if (HAL_GetTick() - t_out >= output_delay) {
      char fl[48];
      uint32_t dt = HAL_GetTick() - t_out;
      snprintf(fl, sizeof fl, "  fps %lu.%lu, LCD %s\r\n", (unsigned long)(cam.frames * 1000u / dt),
               (unsigned long)(cam.frames * 10000u / dt % 10), LCD_ENABLE ? "on" : "off");
      t_out = HAL_GetTick();
      print_cam_stats();
      uart_print(fl);
    }
#else
    (void)t_out;
#endif
#else
    if (HAL_GetTick() - t_out >= output_delay) {
      t_out = HAL_GetTick();
      print_status(t_out);
    }
#endif
  }
  /* USER CODE END 3 */
}

void SystemClock_Config(void)
{
  RCC_OscInitTypeDef RCC_OscInitStruct = {0};
  RCC_ClkInitTypeDef RCC_ClkInitStruct = {0};

  /** Configure the main internal regulator output voltage
  */
  __HAL_RCC_PWR_CLK_ENABLE();
  __HAL_PWR_VOLTAGESCALING_CONFIG(PWR_REGULATOR_VOLTAGE_SCALE1);

  /** Initializes the RCC Oscillators according to the specified parameters
  * in the RCC_OscInitTypeDef structure.
  */
  RCC_OscInitStruct.OscillatorType = RCC_OSCILLATORTYPE_HSI;
  RCC_OscInitStruct.HSIState = RCC_HSI_ON;
  RCC_OscInitStruct.HSICalibrationValue = RCC_HSICALIBRATION_DEFAULT;
  RCC_OscInitStruct.PLL.PLLState = RCC_PLL_ON;
  RCC_OscInitStruct.PLL.PLLSource = RCC_PLLSOURCE_HSI;
  RCC_OscInitStruct.PLL.PLLM = 8;
  RCC_OscInitStruct.PLL.PLLN = 216;
  RCC_OscInitStruct.PLL.PLLP = RCC_PLLP_DIV2;
  RCC_OscInitStruct.PLL.PLLQ = 2;
  RCC_OscInitStruct.PLL.PLLR = 2;
  if (HAL_RCC_OscConfig(&RCC_OscInitStruct) != HAL_OK)
  {
    Error_Handler();
  }

  /** Activate the Over-Drive mode
  */
  if (HAL_PWREx_EnableOverDrive() != HAL_OK)
  {
    Error_Handler();
  }

  /** Initializes the CPU, AHB and APB buses clocks
  */
  RCC_ClkInitStruct.ClockType = RCC_CLOCKTYPE_HCLK|RCC_CLOCKTYPE_SYSCLK
                              |RCC_CLOCKTYPE_PCLK1|RCC_CLOCKTYPE_PCLK2;
  RCC_ClkInitStruct.SYSCLKSource = RCC_SYSCLKSOURCE_PLLCLK;
  RCC_ClkInitStruct.AHBCLKDivider = RCC_SYSCLK_DIV1;
  RCC_ClkInitStruct.APB1CLKDivider = RCC_HCLK_DIV4;
  RCC_ClkInitStruct.APB2CLKDivider = RCC_HCLK_DIV2;

  if (HAL_RCC_ClockConfig(&RCC_ClkInitStruct, FLASH_LATENCY_7) != HAL_OK)
  {
    Error_Handler();
  }
}

 /* MPU Configuration */

void MPU_Config(void)
{
  MPU_Region_InitTypeDef MPU_InitStruct = {0};

  /* Disables the MPU */
  HAL_MPU_Disable();

  /** Initializes and configures the Region and the memory to be protected
  */
  MPU_InitStruct.Enable = MPU_REGION_ENABLE;
  MPU_InitStruct.Number = MPU_REGION_NUMBER0;
  MPU_InitStruct.BaseAddress = 0x0;
  MPU_InitStruct.Size = MPU_REGION_SIZE_4GB;
  MPU_InitStruct.SubRegionDisable = 0x87;
  MPU_InitStruct.TypeExtField = MPU_TEX_LEVEL0;
  MPU_InitStruct.AccessPermission = MPU_REGION_NO_ACCESS;
  MPU_InitStruct.DisableExec = MPU_INSTRUCTION_ACCESS_DISABLE;
  MPU_InitStruct.IsShareable = MPU_ACCESS_SHAREABLE;
  MPU_InitStruct.IsCacheable = MPU_ACCESS_NOT_CACHEABLE;
  MPU_InitStruct.IsBufferable = MPU_ACCESS_NOT_BUFFERABLE;

  HAL_MPU_ConfigRegion(&MPU_InitStruct);
  /* Enables the MPU */
  HAL_MPU_Enable(MPU_PRIVILEGED_DEFAULT);

}

void Error_Handler(void)
{
  __disable_irq();
  while (1)
  {
  }
}
